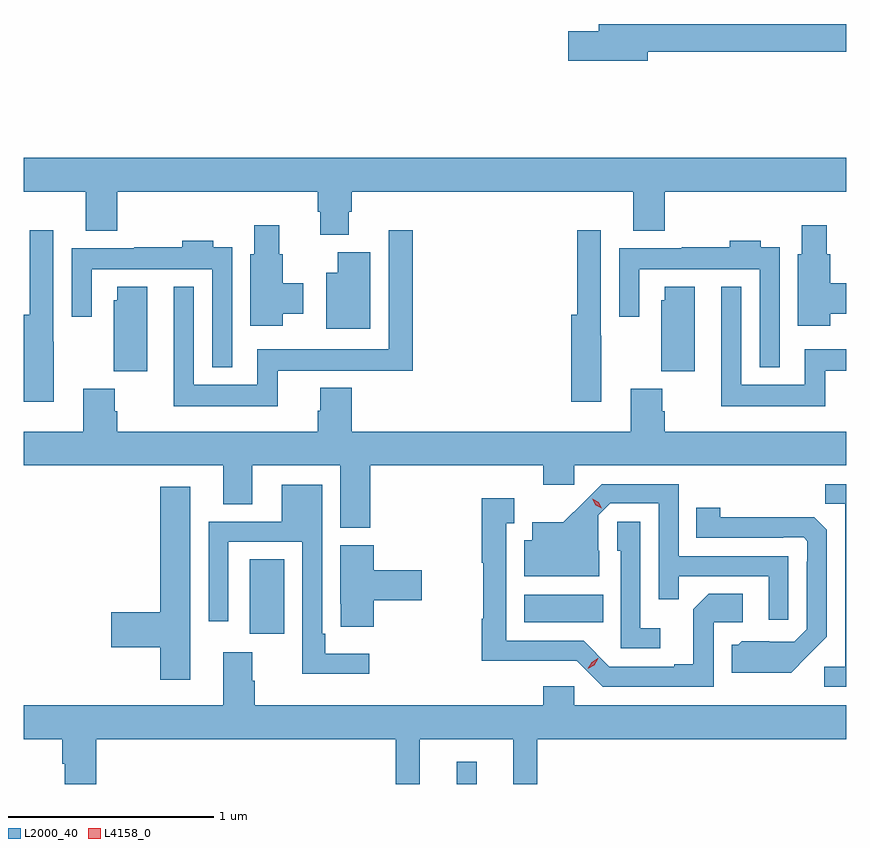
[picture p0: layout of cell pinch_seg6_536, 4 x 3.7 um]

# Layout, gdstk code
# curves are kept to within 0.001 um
import gdstk
lib = gdstk.Library(unit=1e-6, precision=1e-09)
def R(c, l, rs):  # rectangles x0, y0, x1, y1
    for r in rs: c.add(gdstk.rectangle(r[:2], r[2:], *l))
def P(c, l, *ps):  # polygons
    for p in ps: c.add(gdstk.Polygon(p, *l))
L2000_40 = (2000, 40)
L4158_0 = (4158, 0)

pinch_seg6_536 = lib.new_cell('pinch_seg6_536')
R(pinch_seg6_536, L2000_40, [(797.493,920.478,797.59,920.587), (796.487,921.21,796.654,921.572), (797.822,921.266,798.206,921.4)])
P(pinch_seg6_536, L2000_40, [(798.424,924.04),(799.388,924.04),(799.388,924.176),(798.185,924.176),(798.185,924.14),(798.036,924.14),(798.036,923.998),(798.424,923.998)],
  [(796.969,923.262),(796.982,923.262),(796.982,923.36),(798.353,923.36),(798.353,923.171),(798.506,923.171),(798.506,923.36),(799.388,923.36),(799.388,923.524),(795.388,923.524),(795.388,923.36),(795.689,923.36),(795.689,923.171),(795.842,923.171),(795.842,923.36),(796.817,923.36),(796.817,923.262),(796.829,923.262),(796.829,923.15),(796.969,923.15)],
  [(799.312,922.766),(799.388,922.766),(799.388,922.914),(799.312,922.914),(799.312,923.055),(799.294,923.055),(799.294,923.197),(799.172,923.197),(799.172,923.055),(799.154,923.055),(799.154,922.707),(799.312,922.707)],
  [(796.648,922.766),(796.747,922.766),(796.747,922.914),(796.648,922.914),(796.648,923.055),(796.63,923.055),(796.63,923.197),(796.508,923.197),(796.508,923.055),(796.49,923.055),(796.49,922.707),(796.648,922.707)],
  [(798.196,922.658),(798.195,922.658),(798.195,923.173),(798.079,923.173),(798.079,922.762),(798.05,922.762),(798.05,922.338),(798.196,922.338)],
  [(795.532,922.629),(795.531,922.629),(795.531,923.173),(795.415,923.173),(795.415,922.762),(795.388,922.762),(795.388,922.338),(795.532,922.338)],
  [(796.622,922.49),(797.156,922.49),(797.156,922.488),(797.279,922.488),(797.279,923.173),(797.163,923.173),(797.163,922.594),(796.524,922.594),(796.524,922.42),(796.215,922.42),(796.215,922.897),(796.118,922.897),(796.118,922.316),(796.622,922.316)],
  [(799.065,923.089),(798.973,923.089),(798.973,923.122),(798.821,923.122),(798.821,923.089),(798.589,923.089),(798.589,923.086),(798.285,923.086),(798.285,922.752),(798.381,922.752),(798.381,922.982),(798.969,922.982),(798.969,922.505),(799.065,922.505)],
  [(796.401,923.089),(796.309,923.089),(796.309,923.122),(796.157,923.122),(796.157,923.089),(795.925,923.089),(795.925,923.086),(795.621,923.086),(795.621,922.752),(795.717,922.752),(795.717,922.982),(796.305,922.982),(796.305,922.505),(796.401,922.505)],
  [(797.074,923.065),(796.916,923.065),(796.916,922.966),(796.859,922.966),(796.859,922.694),(797.074,922.694)],
  [(798.652,922.897),(798.506,922.897),(798.506,922.833),(798.488,922.833),(798.488,922.486),(798.652,922.486)],
  [(795.988,922.897),(795.842,922.897),(795.842,922.833),(795.824,922.833),(795.824,922.486),(795.988,922.486)],
  [(799.286,922.49),(799.388,922.49),(799.388,922.594),(799.188,922.594),(799.188,922.42),(798.879,922.42),(798.879,922.897),(798.782,922.897),(798.782,922.316),(799.286,922.316)],
  [(797.072,922.028),(797.915,922.028),(797.915,921.933),(798.066,921.933),(798.066,922.028),(799.388,922.028),(799.388,922.192),(798.506,922.192),(798.506,922.292),(798.493,922.292),(798.493,922.401),(798.341,922.401),(798.341,922.192),(796.982,922.192),(796.982,922.405),(796.829,922.405),(796.829,922.293),(796.817,922.293),(796.817,922.192),(795.842,922.192),(795.842,922.292),(795.829,922.292),(795.829,922.401),(795.677,922.401),(795.677,922.192),(795.388,922.192),(795.388,922.028),(796.358,922.028),(796.358,921.838),(796.498,921.838),(796.498,922.028),(796.928,922.028),(796.928,921.724),(797.072,921.724)],
  [(799.388,921.936),(799.288,921.936),(799.288,921.841),(799.383,921.841),(799.383,921.048),(799.281,921.048),(799.281,920.952),(799.388,920.952)],
  [(799.107,921.585),(798.573,921.585),(798.573,921.936),(798.2,921.936),(798.013,921.751),(797.861,921.751),(797.861,921.664),(797.822,921.664),(797.822,921.488),(798.187,921.488),(798.187,921.612),(798.183,921.612),(798.183,921.786),(798.24,921.843),(798.477,921.843),(798.477,921.376),(798.575,921.376),(798.575,921.489),(799.011,921.489),(799.011,921.276),(799.107,921.276)],
  [(797.068,921.112),(796.855,921.112),(796.855,921.208),(796.839,921.208),(796.839,921.934),(796.643,921.934),(796.643,921.753),(796.287,921.753),(796.287,921.27),(796.383,921.27),(796.383,921.657),(796.743,921.657),(796.743,921.014),(797.068,921.014)],
  [(796.198,921.925),(796.052,921.925),(796.052,921.314),(795.813,921.314),(795.813,921.143),(796.052,921.143),(796.052,920.985),(796.198,920.985)],
  [(798.744,921.264),(798.886,921.264),(798.886,921.404),(798.721,921.404),(798.645,921.328),(798.645,921.061),(798.551,921.061),(798.551,921.048),(798.237,921.048),(798.111,921.174),(797.734,921.174),(797.734,921.747),(797.773,921.747),(797.773,921.868),(797.616,921.868),(797.616,921.555),(797.623,921.555),(797.623,921.281),(797.616,921.281),(797.616,921.077),(798.078,921.078),(798.204,920.952),(798.744,920.952)],
  [(799.201,921.101),(799.293,921.194),(799.293,921.716),(799.234,921.775),(798.777,921.776),(798.777,921.823),(798.658,921.823),(798.658,921.675),(799.082,921.675),(799.082,921.678),(799.182,921.678),(799.2,921.66),(799.2,921.56),(799.197,921.56),(799.197,921.231),(799.137,921.171),(798.88,921.172),(798.864,921.156),(798.833,921.156),(798.833,921.02),(799.121,921.02)],
  [(798.484,921.235),(798.387,921.235),(798.387,921.755),(798.276,921.755),(798.276,921.612),(798.291,921.612),(798.291,921.138),(798.484,921.138)],
  [(797.09,921.371),(797.323,921.371),(797.323,921.518),(797.09,921.518),(797.09,921.639),(796.928,921.639),(796.928,921.355),(796.929,921.355),(796.929,921.243),(797.09,921.243)],
  [(796.511,920.981),(796.498,920.981),(796.498,921.118),(796.358,921.118),(796.358,920.86),(795.388,920.86),(795.388,920.696),(795.575,920.696),(795.575,920.576),(795.587,920.576),(795.587,920.478),(795.74,920.478),(795.74,920.696),(797.197,920.696),(797.197,920.478),(797.315,920.478),(797.315,920.696),(797.768,920.696),(797.768,920.478),(797.885,920.478),(797.885,920.696),(799.388,920.696),(799.388,920.86),(798.066,920.86),(798.066,920.953),(797.915,920.953),(797.915,920.86),(796.511,920.86)])
P(pinch_seg6_536, L4158_0, [(798.2,921.819),(798.17,921.835),(798.153,921.865),(798.153,921.866),(798.153,921.866),(798.184,921.85),(798.2,921.82),(798.2,921.819)],
  [(798.132,921.039),(798.132,921.039),(798.15,921.071),(798.181,921.09),(798.182,921.09),(798.182,921.09),(798.164,921.057),(798.132,921.039)])

lib.write_gds('pinch_seg6_536.gds')
